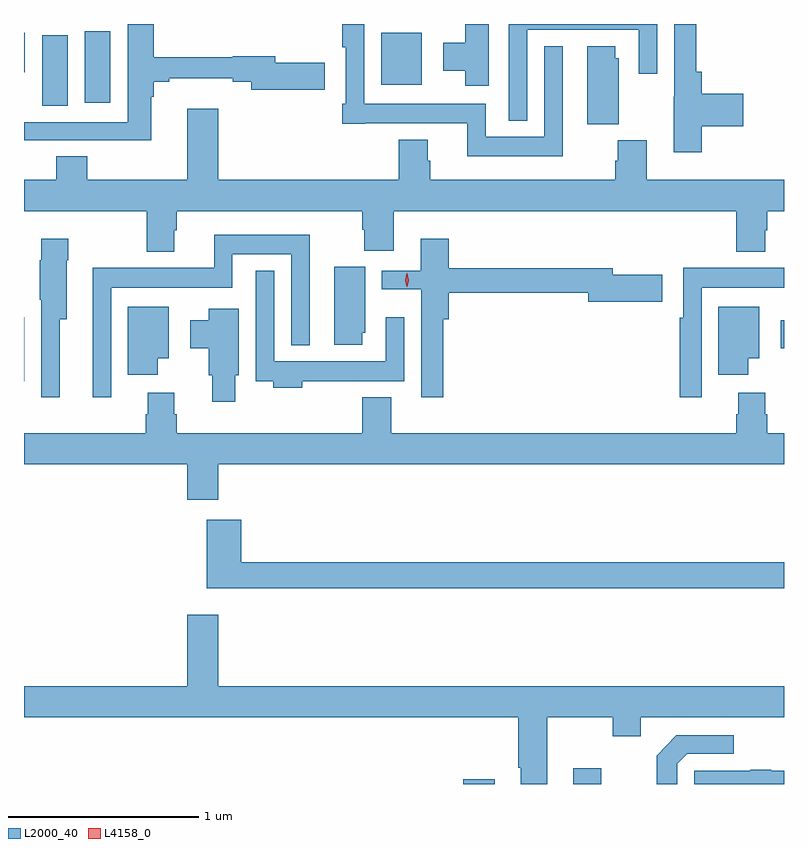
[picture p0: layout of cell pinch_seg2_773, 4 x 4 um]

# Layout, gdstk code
import gdstk
lib = gdstk.Library(unit=1e-6, precision=1e-09)
def R(c, l, rs):  # rectangles x0, y0, x1, y1
    for r in rs: c.add(gdstk.rectangle(r[:2], r[2:], *l))
def P(c, l, *ps):  # polygons
    for p in ps: c.add(gdstk.Polygon(p, *l))
L2000_40 = (2000, 40)
L4158_0 = (4158, 0)

pinch_seg2_773 = lib.new_cell('pinch_seg2_773')
R(pinch_seg2_773, L2000_40, [(645.98,660.605,646.147,660.631), (646.559,660.605,646.708,660.688), (643.669,662.726,643.671,663.061), (647.651,662.899,647.669,663.046), (643.766,664.174,643.9,664.546), (643.988,664.191,644.122,664.566), (645.548,664.286,645.763,664.558), (643.669,664.352,643.672,664.558)])
P(pinch_seg2_773, L2000_40, [(643.754,663.993),(644.12,663.993),(644.12,663.992),(644.338,663.992),(644.338,664.223),(644.351,664.223),(644.351,664.3),(644.434,664.3),(644.434,664.319),(644.768,664.319),(644.768,664.3),(644.864,664.3),(644.864,664.258),(645.253,664.258),(645.253,664.4),(644.992,664.4),(644.992,664.436),(644.768,664.436),(644.768,664.429),(644.351,664.429),(644.351,664.605),(644.216,664.605),(644.216,664.089),(643.669,664.089),(643.669,663.992),(643.754,663.992)],
  [(646.317,664.574),(646.905,664.574),(646.905,664.344),(647.001,664.344),(647.001,664.605),(646.221,664.605),(646.221,664.097),(646.317,664.097)],
  [(647.237,664.067),(647.455,664.067),(647.455,664.238),(647.237,664.238),(647.237,664.354),(647.207,664.354),(647.207,664.605),(647.091,664.605),(647.091,664.221),(647.09,664.221),(647.09,663.93),(647.237,663.93)],
  [(646.114,664.605),(645.992,664.605),(645.992,664.506),(645.875,664.506),(645.875,664.358),(645.992,664.358),(645.992,664.281),(646.114,664.281)],
  [(646.504,664.489),(646.407,664.489),(646.407,664.012),(646.098,664.012),(646.098,664.186),(645.459,664.186),(645.459,664.605),(645.343,664.605),(645.343,664.483),(645.363,664.483),(645.363,664.186),(645.343,664.186),(645.343,664.08),(645.466,664.08),(645.466,664.082),(646.001,664.082),(646.001,663.908),(646.504,663.908)],
  [(646.798,664.425),(646.78,664.425),(646.78,664.489),(646.634,664.489),(646.634,664.078),(646.798,664.078)],
  [(644.461,663.519),(644.474,663.519),(644.474,663.62),(645.449,663.62),(645.449,663.521),(645.461,663.521),(645.461,663.412),(645.614,663.412),(645.614,663.62),(647.417,663.62),(647.417,663.407),(647.569,663.407),(647.569,663.519),(647.582,663.519),(647.582,663.62),(647.669,663.62),(647.669,663.784),(646.946,663.784),(646.946,663.993),(646.793,663.993),(646.793,663.884),(646.781,663.884),(646.781,663.784),(645.806,663.784),(645.806,663.885),(645.793,663.885),(645.793,663.997),(645.641,663.997),(645.641,663.784),(644.692,663.784),(644.692,664.159),(644.528,664.159),(644.528,663.784),(644.003,663.784),(644.003,663.908),(643.838,663.908),(643.838,663.784),(643.669,663.784),(643.669,663.62),(644.314,663.62),(644.314,663.407),(644.461,663.407)],
  [(644.127,663.218),(644.766,663.218),(644.766,663.392),(645.075,663.392),(645.075,662.915),(645.172,662.915),(645.172,663.496),(644.669,663.496),(644.669,663.322),(644.03,663.322),(644.03,662.64),(644.127,662.64)],
  [(645.875,663.05),(645.905,663.05),(645.905,663.19),(646.64,663.19),(646.64,663.143),(647.029,663.143),(647.029,663.285),(646.768,663.285),(646.768,663.319),(645.905,663.319),(645.905,663.475),(645.758,663.475),(645.758,663.306),(645.552,663.306),(645.552,663.209),(645.759,663.209),(645.759,662.64),(645.875,662.64)],
  [(643.858,663.05),(643.894,663.05),(643.894,663.362),(643.902,663.362),(643.902,663.475),(643.76,663.475),(643.76,663.362),(643.753,663.362),(643.753,663.154),(643.761,663.154),(643.761,662.64),(643.858,662.64)],
  [(645.448,662.979),(645.466,662.979),(645.466,663.327),(645.302,663.327),(645.302,662.916),(645.448,662.916)],
  [(647.235,663.218),(647.669,663.218),(647.669,663.322),(647.139,663.322),(647.139,663.059),(647.119,663.059),(647.119,662.64),(647.235,662.64)],
  [(645.134,662.724),(645.365,662.724),(645.365,662.726),(645.669,662.726),(645.669,663.061),(645.573,663.061),(645.573,662.83),(644.985,662.83),(644.985,663.307),(644.889,663.307),(644.889,662.724),(644.981,662.724),(644.981,662.69),(645.134,662.69)],
  [(647.482,662.846),(647.539,662.846),(647.539,663.118),(647.324,663.118),(647.324,662.76),(647.482,662.76)],
  [(644.374,662.846),(644.431,662.846),(644.431,663.118),(644.216,663.118),(644.216,662.76),(644.374,662.76)],
  [(644.782,662.757),(644.8,662.757),(644.8,663.106),(644.642,663.106),(644.642,663.046),(644.543,663.046),(644.543,662.899),(644.642,662.899),(644.642,662.757),(644.66,662.757),(644.66,662.616),(644.782,662.616)],
  [(644.692,662.288),(647.669,662.288),(647.669,662.452),(647.582,662.452),(647.582,662.55),(647.569,662.55),(647.569,662.665),(647.429,662.665),(647.429,662.55),(647.417,662.55),(647.417,662.452),(645.601,662.452),(645.601,662.641),(645.449,662.641),(645.449,662.452),(644.474,662.452),(644.474,662.55),(644.461,662.55),(644.461,662.665),(644.321,662.665),(644.321,662.55),(644.309,662.55),(644.309,662.452),(643.669,662.452),(643.669,662.288),(644.528,662.288),(644.528,662.1),(644.692,662.1)],
  [(647.669,661.772),(644.813,661.772),(644.813,661.996),(644.63,661.996),(644.63,661.636),(647.669,661.636)],
  [(646.423,660.956),(646.768,660.956),(646.768,660.857),(646.915,660.857),(646.915,660.956),(647.669,660.956),(647.669,661.12),(644.692,661.12),(644.692,661.495),(644.528,661.495),(644.528,661.12),(643.669,661.12),(643.669,660.956),(646.271,660.956),(646.271,660.691),(646.283,660.691),(646.283,660.605),(646.423,660.605)],
  [(647.106,660.711),(647.16,660.765),(647.404,660.765),(647.404,660.861),(647.103,660.861),(646.998,660.755),(646.998,660.605),(647.106,660.605)],
  [(647.669,660.675),(647.603,660.675),(647.603,660.68),(647.491,660.68),(647.491,660.675),(647.196,660.675),(647.196,660.605),(647.669,660.605)])
P(pinch_seg2_773, L4158_0, [(645.684,663.221),(645.675,663.257),(645.684,663.293),(645.685,663.293),(645.685,663.293),(645.695,663.257),(645.685,663.221),(645.685,663.221)])

lib.write_gds('pinch_seg2_773.gds')
